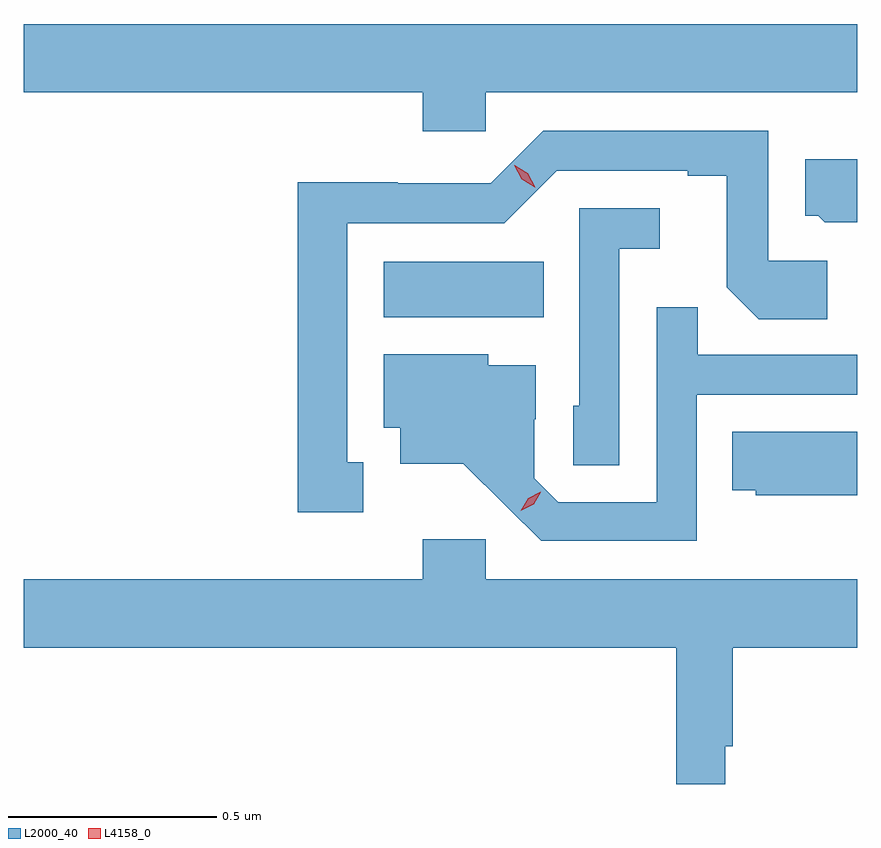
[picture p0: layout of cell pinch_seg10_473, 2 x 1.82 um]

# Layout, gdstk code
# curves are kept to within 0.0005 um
import gdstk
lib = gdstk.Library(unit=1e-6, precision=1e-09)
def R(c, l, rs):  # rectangles x0, y0, x1, y1
    for r in rs: c.add(gdstk.rectangle(r[:2], r[2:], *l))
def P(c, l, *ps):  # polygons
    for p in ps: c.add(gdstk.Polygon(p, *l))
L2000_40 = (2000, 40)
L4158_0 = (4158, 0)

pinch_seg10_473 = lib.new_cell('pinch_seg10_473')
R(pinch_seg10_473, L2000_40, [(352.712,1293.116,353.096,1293.25)])
P(pinch_seg10_473, L2000_40, [(352.956,1293.656),(353.848,1293.656),(353.848,1293.82),(351.848,1293.82),(351.848,1293.656),(352.805,1293.656),(352.805,1293.563),(352.956,1293.563)],
  [(352.663,1292.769),(352.624,1292.769),(352.624,1293.342),(353.001,1293.342),(353.127,1293.468),(353.441,1293.468),(353.441,1293.456),(353.535,1293.456),(353.535,1293.188),(353.611,1293.112),(353.776,1293.112),(353.776,1293.252),(353.634,1293.252),(353.634,1293.564),(353.094,1293.564),(352.968,1293.438),(352.746,1293.438),(352.746,1293.44),(352.506,1293.44),(352.506,1292.649),(352.663,1292.649)],
  [(353.848,1293.496),(353.723,1293.496),(353.723,1293.36),(353.754,1293.36),(353.77,1293.344),(353.848,1293.344)],
  [(353.277,1293.281),(353.374,1293.281),(353.374,1293.378),(353.181,1293.378),(353.181,1292.904),(353.166,1292.904),(353.166,1292.761),(353.277,1292.761)],
  [(353.463,1292.931),(353.848,1292.931),(353.848,1293.027),(353.465,1293.027),(353.465,1293.14),(353.367,1293.14),(353.367,1292.673),(353.13,1292.673),(353.073,1292.73),(353.073,1292.872),(353.077,1292.872),(353.077,1293.001),(352.962,1293.001),(352.962,1293.028),(352.712,1293.028),(352.712,1292.852),(352.751,1292.852),(352.751,1292.765),(352.903,1292.765),(353.09,1292.58),(353.463,1292.58)],
  [(353.848,1292.842),(353.548,1292.842),(353.548,1292.702),(353.604,1292.702),(353.604,1292.69),(353.848,1292.69)],
  [(353.531,1292.088),(353.549,1292.088),(353.549,1292.324),(353.848,1292.324),(353.848,1292.488),(352.956,1292.488),(352.956,1292.584),(352.805,1292.584),(352.805,1292.488),(351.848,1292.488),(351.848,1292.324),(353.413,1292.324),(353.413,1291.997),(353.531,1291.997)])
P(pinch_seg10_473, L4158_0, [(353.041,1292.652),(353.041,1292.653),(353.058,1292.682),(353.089,1292.698),(353.089,1292.698),(353.089,1292.697),(353.072,1292.668),(353.041,1292.652)],
  [(353.074,1293.429),(353.043,1293.448),(353.025,1293.481),(353.025,1293.481),(353.026,1293.481),(353.057,1293.462),(353.075,1293.429),(353.075,1293.429)])

lib.write_gds('pinch_seg10_473.gds')
